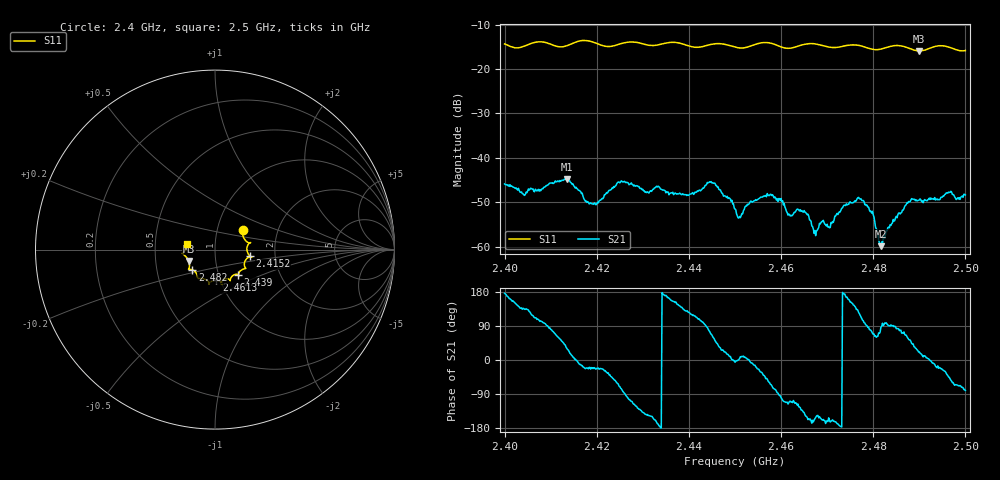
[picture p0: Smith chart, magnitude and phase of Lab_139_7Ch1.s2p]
# Hz S RI R 50
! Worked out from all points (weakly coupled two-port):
!   601 points, 2.4 GHz to 2.5 GHz, reference 50 ohm
!   highest |S21| = -44.72 dB at 2.4135 GHz (marker M1); lowest = -59.9 dB at 2.4817 GHz (marker M2)
!   lowest |S11| = -15.9 dB at 2.49 GHz (marker M3), VSWR 1.38, Z = 36.9 - j4.81 ohm
!   |S11| at or under -10 dB: start of sweep to end of sweep
!   S12 and S22 are empty: the file has one direction only
!   S11 on the Smith chart (normalised r, x): 2.4 GHz: 1.33, +0.31; 2.4152 GHz: 1.48, -0.11; 2.439 GHz: 1.24, -0.36; 2.4613 GHz: 0.96, -0.34; 2.482 GHz: 0.76, -0.17; 2.5 GHz: 0.73, +0.05
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2.4e9  0.1558 0.1118  -0.00509 0.00033  0 0  0 0
2.404333e9  0.1756 0.0449  -0.00262 0.00273  0 0  0 0
2.4135e9  0.1819 -0.0175  0.00498 0.00298  0 0  0 0
2.415167e9  0.195 -0.0365  0.00475 0.000203  0 0  0 0
2.416667e9  0.2045 -0.0422  0.00385 -0.000999  0 0  0 0
2.4195e9  0.1946 -0.0399  0.00293 -0.00107  0 0  0 0
2.425e9  0.1658 -0.0955  0.00177 -0.00494  0 0  0 0
2.433333e9  0.1324 -0.1325  -0.00471 -0.000894  0 0  0 0
2.439e9  0.1279 -0.1389  -0.00257 0.00289  0 0  0 0
2.445e9  0.0839 -0.1705  0.00215 0.00477  0 0  0 0
2.45e9  0.0684 -0.1629  0.00264 -0.000276  0 0  0 0
2.4575e9  0.0403 -0.1925  0.00191 -0.00327  0 0  0 0
2.461333e9  0.00798 -0.1709  -0.000885 -0.00225  0 0  0 0
2.466667e9  -0.033 -0.1904  -0.00167 -0.000394  0 0  0 0
2.470667e9  -0.0497 -0.1685  -0.00158 -0.000462  0 0  0 0
2.477e9  -0.0959 -0.1569  -0.00185 0.00295  0 0  0 0
2.479667e9  -0.105 -0.1306  0.000626 0.00231  0 0  0 0
2.481667e9  -0.1233 -0.1136  5.82e-05 0.00101  0 0  0 0
2.482e9  -0.1269 -0.112  -0.000133 0.00108  0 0  0 0
2.483333e9  -0.1397 -0.11  -1.39e-05 0.00166  0 0  0 0
2.49e9  -0.1467 -0.0634  0.00313 0.00123  0 0  0 0
2.5e9  -0.158 0.0334  0.000631 -0.00378  0 0  0 0
